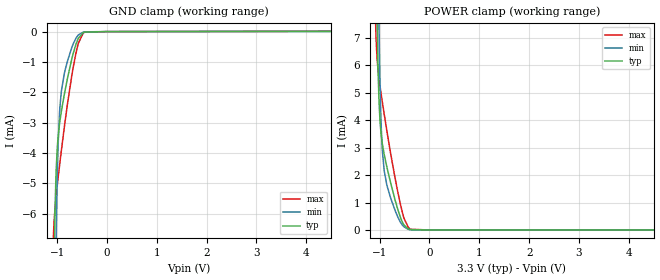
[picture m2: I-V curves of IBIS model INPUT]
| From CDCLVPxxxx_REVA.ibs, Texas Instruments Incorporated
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|   Differential or Single-ended Receiver Input Model   |
[Model]   INPUT
Model_type   Input
| Signals   INN0, INP0, INN1, INP1
| variable   typ   min   max
C_comp   0.295pF   0.292pF   0.298pF
Vinl = 0.85V   |
Vinh = 2.40V   |
[Model Spec]
|   VCC=3.3V   VCC=2.375V   VCC=3.6V
Vinl   0.85V   0.00V   1.70V
Vinh   2.40V   1.20V   3.60V
| Junction Temperature (Ambient temp is 25C typ, 85C min, -40C max)
[Temperature Range]   40C   100C   -40C
[Voltage range]   3.3V   2.375V   3.6V
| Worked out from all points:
|   GND clamp passes 1 mA (typ) near -0.72 V on its own axis
|   POWER clamp passes 1 mA (typ) near -0.68 V on its own axis
[GND Clamp]
|   Voltage   I(typ)   I(min)   I(max)
-3.3V     -1.065A    -1.072A    -1.061A
-1.08V    -10.1mA    -17.36mA   -6.92mA
-1.062V   -7.721mA   -13.48mA   -6.284mA
-1.045V   -6.08mA    -10.32mA   -5.865mA
-1.02V    -4.586mA   -6.821mA   -5.406mA
-981mV    -3.472mA   -3.738mA   -4.815mA
-953.3mV  -3.048mA   -2.69mA    -4.426mA
-916.6mV  -2.634mA   -1.973mA   -3.929mA
-842mV    -1.944mA   -1.279mA   -2.969mA
-673.6mV  -692.5uA   -387.6uA   -1.133mA
-476.1mV  -32.92uA   -17.23uA   -49.69uA
6.598V    12.89uA    10.05uA    17.3uA
[POWER Clamp]
|   Voltage   I(typ)   I(min)   I(max)
-3.3V     1.072A     1.078A     1.069A
-1.079V   11.93mA    20.27mA    7.424mA
-1.05V    7.485mA    13.33mA    6.212mA
-1.013V   4.696mA    7.33mA     5.512mA
-988mV    3.851mA    4.944mA    5.176mA
-965.6mV  3.405mA    3.623mA    4.895mA
-943.5mV  3.104mA    2.832mA    4.627mA
-909.2mV  2.752mA    2.158mA    4.223mA
-780mV    1.716mA    1.167mA    2.788mA
-631.5mV  723uA      453.1uA    1.342mA
-426.6mV  37.46uA    23.34uA    99.56uA
6.598V    0A         0A         0A
